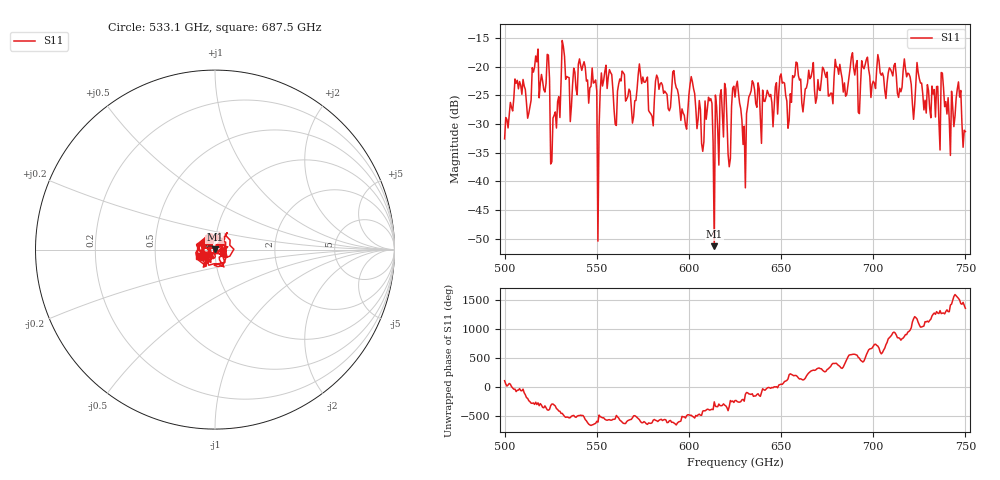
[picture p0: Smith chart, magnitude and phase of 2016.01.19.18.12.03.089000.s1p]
!Created with skrf (http://scikit-rf.org).
# GHz S RI R 50.0
!freq ReS11 ImS11
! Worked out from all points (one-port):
!   401 points, 500 GHz to 750 GHz, reference 50 ohm
!   lowest |S11| = -51.3 dB at 613.8 GHz (marker M1), VSWR 1.01, Z = 49.9 + j0.252 ohm
!   |S11| at or under -10 dB: start of sweep to end of sweep
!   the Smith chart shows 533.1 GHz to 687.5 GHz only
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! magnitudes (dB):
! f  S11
! 500 GHz  -32.6
! 506.9 GHz  -22.4
! 513.1 GHz  -28.1
! 516.9 GHz  -18.1
! 523.1 GHz  -17.8
! 526.2 GHz  -28.9
! 531.2 GHz  -15.4
! 548.8 GHz  -22.7
! 550.6 GHz  -50.4
! 553.8 GHz  -22.3
! 562.5 GHz  -22.1
! 593.8 GHz  -24.0
! 598.1 GHz  -30.1
! 601.9 GHz  -22.6
! 608.1 GHz  -33.1
! 611.2 GHz  -25.9
! 613.8 GHz  -51.3
! 618.8 GHz  -32.2
! 621.9 GHz  -37.4
! 625 GHz  -25.3
! 630 GHz  -30.4
! 634.4 GHz  -22.4
! 656.2 GHz  -21.5
! 687.5 GHz  -20.1
! 718.8 GHz  -21.1
! 742.5 GHz  -24.3
! 746.2 GHz  -22.6
! 750 GHz  -31.3
